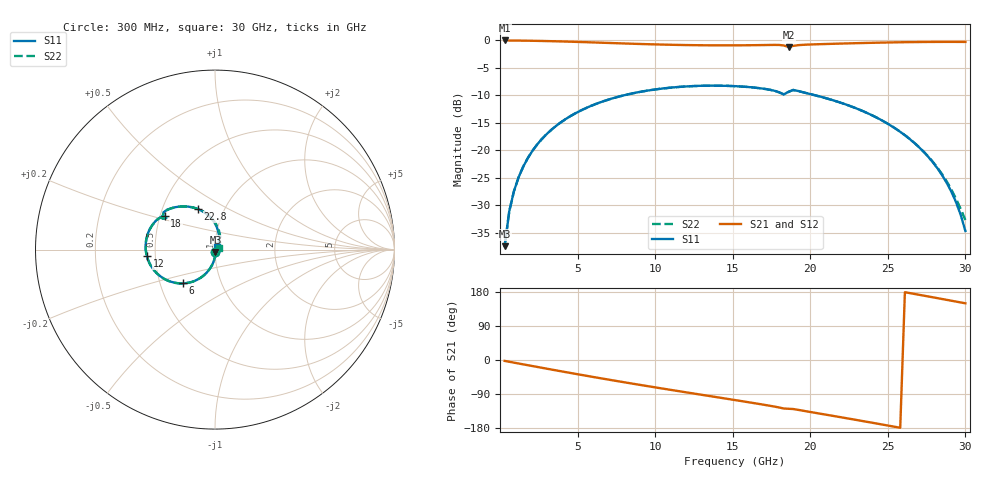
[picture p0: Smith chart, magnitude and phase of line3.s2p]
! Created Thu Feb 13 09:01:00 2025
! List of port names and net name(s): example Port n = <port_name> <net_name1> <net_name2> ...
! Port 1 = P1 N__8 N__7 N_gnd
! Port 2 = P4 N__9 N__11 N__10
# hz S ma R 50
! 2 Port Network Data from data block
! freq  magS11  angS11  magS21  angS21  magS12  angS12  magS22  angS22
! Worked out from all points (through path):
!   100 points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, 300 MHz to 30 GHz, reference 50 ohm
!   highest |S21| = -0.03 dB at 300 MHz (marker M1); lowest = -1.2 dB at 18.6 GHz (marker M2)
!   group delay of S21, straight-line fit = 19 ps
!   lowest |S11| = -37.4 dB at 300 MHz (marker M3), VSWR 1.03, Z = 50.3 - j1.33 ohm
!   |S11| at or under -10 dB: start of sweep to 7.979 GHz; 20.33 GHz to end of sweep
!   |S22| runs from -37.4 to -8.2 dB; largest |S21 - S12| = 0
!   S11 on the Smith chart (normalised r, x): 300 MHz: 1.01, -0.03; 6 GHz: 0.66, -0.26; 12 GHz: 0.45, -0.04; 18 GHz: 0.53, +0.22; 22.8 GHz: 0.75, +0.36; 30 GHz: 1.03, +0.03
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3e8  0.0135 -78.5  0.9967 -2.4  0.9967 -2.4  0.0135 -78.5
6e8  0.02801 -86.5  0.9956 -4.6  0.9956 -4.6  0.02801 -86.5
9e8  0.04253 -91.0  0.9947 -6.9  0.9947 -6.9  0.04252 -91.0
1.2e9  0.05696 -94.6  0.9937 -9.2  0.9937 -9.2  0.05694 -94.5
1.8e9  0.08543 -100.4  0.9912 -13.8  0.9912 -13.8  0.08541 -100.4
3.3e9  0.1534 -112.9  0.9818 -25.0  0.9818 -25.0  0.1534 -112.8
5.4e9  0.2373 -128.9  0.9627 -40.4  0.9627 -40.4  0.2372 -128.7
6e9  0.2582 -133.2  0.9565 -44.7  0.9565 -44.7  0.258 -133.0
8.1e9  0.3193 -148.1  0.9348 -59.4  0.9348 -59.4  0.3191 -147.9
1.02e10  0.3609 -162.4  0.9163 -73.5  0.9163 -73.5  0.3606 -162.1
1.2e10  0.3811 -174.3  0.9054 -85.3  0.9054 -85.3  0.3808 -174.0
1.53e10  0.3824 164.0  0.9003 -106.7  0.9003 -106.7  0.382 164.4
1.8e10  0.3371 146.5  0.9074 -125.4  0.9074 -125.4  0.3365 146.8
1.86e10  0.3408 149.1  0.8708 -128.7  0.8708 -128.7  0.3396 149.5
2.01e10  0.3224 132.8  0.917 -137.9  0.917 -137.9  0.3221 133.0
2.28e10  0.2461 113.1  0.9403 -157.0  0.9403 -157.0  0.2459 112.9
2.52e10  0.1678 95.2  0.9566 -174.4  0.9566 -174.4  0.1679 94.0
2.7e10  0.1072 81.1  0.9644 172.2  0.9644 172.2  0.1077 78.2
2.82e10  0.0687 70.9  0.967 163.2  0.967 163.2  0.06971 65.1
2.91e10  0.04206 61.6  0.9674 156.4  0.9674 156.4  0.04398 50.8
2.97e10  0.02592 52.2  0.9669 151.9  0.9669 151.9  0.0293 34.6
3e10  0.01855 44.3  0.9664 149.6  0.9664 149.6  0.02335 21.7
